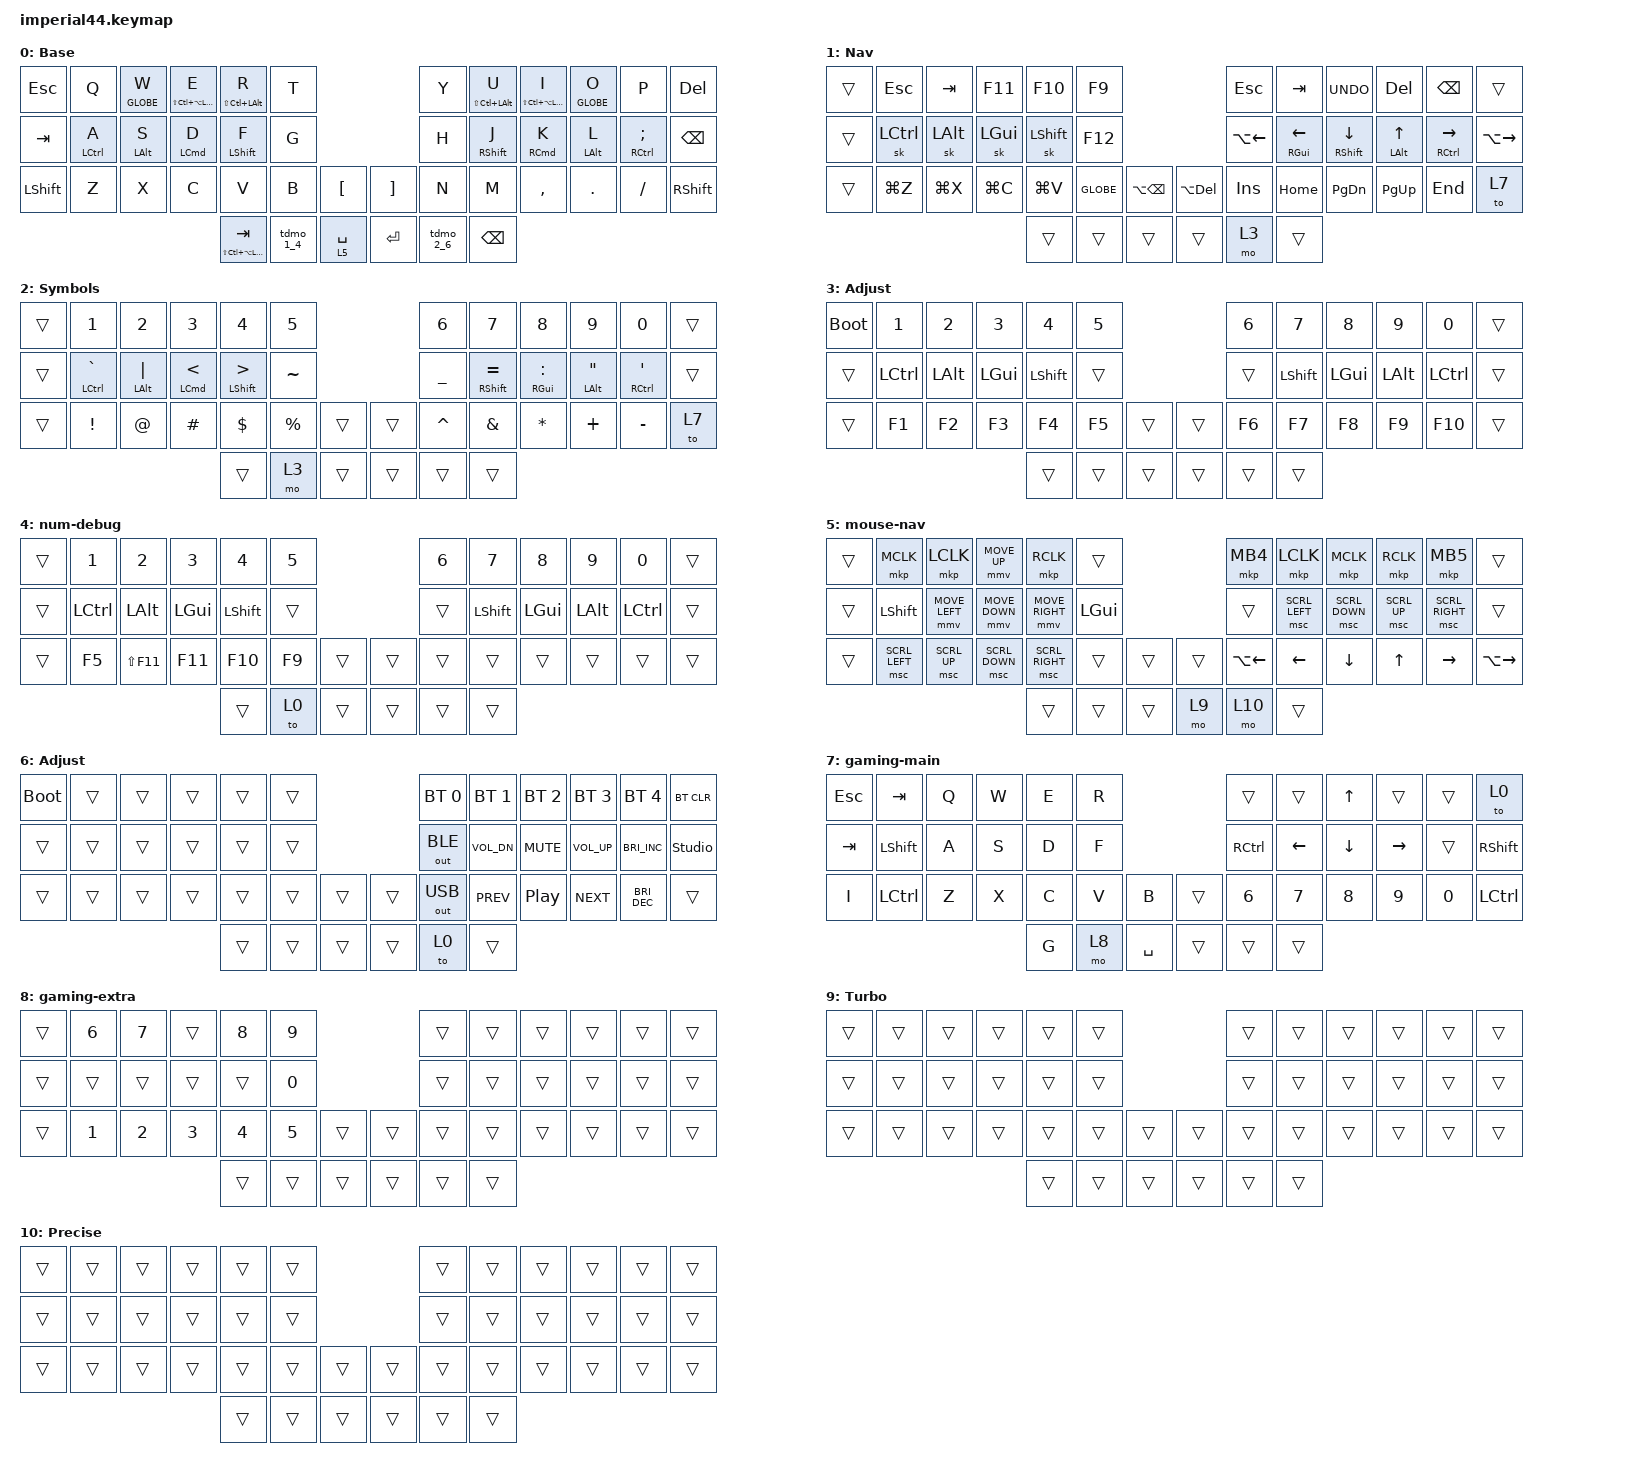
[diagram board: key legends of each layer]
#include "keys_ru.h"

#define ZMK_POINTING_DEFAULT_MOVE_VAL 1800
#define HYPER LS(LC(LA(LGUI)))
#define MEH LS(LC(LALT))

#include <behaviors.dtsi>
#include <input/processors.dtsi>
#include <dt-bindings/zmk/bt.h>
#include <dt-bindings/zmk/keys.h>
#include <dt-bindings/zmk/outputs.h>
#include <dt-bindings/zmk/pointing.h>

&mt {
    quick-tap-ms = <200>;
    require-prior-idle-ms = <125>;
    flavor = "tap-preferred";
};

&mmv {
    time-to-max-speed-ms = <400>;
    acceleration-exponent = <2>;
};

/* mouse-nav: держать RT2 = Precise (слой 10, ×⅓), RT3 = Turbo (слой 9, ×2) */
&mmv_input_listener {
    precision {
        layers = <10>;
        input-processors = <&zip_xy_scaler 1 3>;
    };
    turbo {
        layers = <9>;
        input-processors = <&zip_xy_scaler 2 1>;
    };
};

&msc_input_listener {
    precision {
        layers = <10>;
        input-processors = <&zip_scroll_scaler 1 2>;
    };
    turbo {
        layers = <9>;
        input-processors = <&zip_scroll_scaler 3 1>;
    };
};

/ {
    combos {
        compatible = "zmk,combos";

        right-parenthesis {
            bindings = <&kp RIGHT_PARENTHESIS>;
            key-positions = <4 3>;
            layers = <0>;
        };

        left-parenthesis {
            bindings = <&kp LEFT_PARENTHESIS>;
            key-positions = <2 3>;
            layers = <0>;
        };

        right-brace {
            bindings = <&kp RIGHT_BRACE>;
            key-positions = <34 35>;
            layers = <0>;
        };

        left-brace {
            bindings = <&kp LEFT_BRACE>;
            key-positions = <33 34>;
            layers = <0>;
        };

        asterisk {
            bindings = <&kp ASTRK>;
            key-positions = <>;
            layers = <0>;
        };

        ampersand {
            bindings = <&kp AMPS>;
            key-positions = <>;
            layers = <0>;
        };

        exclamation {
            bindings = <&kp EXCL>;
            key-positions = <>;
            layers = <0>;
        };

        left-bracket {
            bindings = <&kp LEFT_BRACKET>;
            key-positions = <7 8>;
            layers = <0>;
        };

        right-bracket {
            bindings = <&kp RIGHT_BRACKET>;
            key-positions = <8 9>;
            layers = <0>;
        };

        assign_value {
            bindings = <&ass_val>;
            key-positions = <2 4 3>;
            layers = <0>;
        };

        backslash {
            bindings = <&kp BSLH>;
            key-positions = <4 5>;
            layers = <0>;
        };

        question {
            bindings = <&kp QMARK>;
            key-positions = <35 36>;
            layers = <0>;
        };

        equals {
            bindings = <&kp EQUAL>;
            key-positions = <28 27>;
            layers = <0>;
        };

        minus {
            bindings = <&kp MINUS>;
            key-positions = <26 27>;
            layers = <0>;
        };

        slash {
            bindings = <&kp SLASH>;
            key-positions = <28 29>;
            layers = <0>;
        };

        pg-up {
            bindings = <&kp PAGE_UP>;
            key-positions = <7 8>;
            layers = <1>;
        };

        pg-down {
            bindings = <&kp PAGE_DOWN>;
            key-positions = <33 34>;
            layers = <1>;
        };

        next-word {
            bindings = <&kp LC(RIGHT_ARROW)>;
            key-positions = <20 21>;
            layers = <1>;
        };

        prev-word {
            bindings = <&kp LC(LEFT_ARROW)>;
            key-positions = <19 20>;
            layers = <1>;
        };

        caps-lock {
            bindings = <&kp CAPSLOCK>;
            key-positions = <25 26>;
            layers = <0>;
        };

        Underscore {
            bindings = <&kp UNDER>;
            key-positions = <30 31>;
            layers = <0>;
        };
    };

    behaviors {
        hml: home_row_mod_left {
            compatible = "zmk,behavior-hold-tap";
            label = "Home Row Mod Left";
            bindings = <&kp>, <&kp>;

            #binding-cells = <2>;
            tapping-term-ms = <280>;
            quick-tap-ms = <175>;
            require-prior-idle-ms = <150>;
            flavor = "balanced";
            hold-trigger-key-positions = <41 42 43 31 32 7 8 9 10 11 19 20 21 22 23 33 34 35 36 37 6 18>;
            hold-trigger-on-release;
        };

        hmr: home_row_mod_right {
            compatible = "zmk,behavior-hold-tap";
            label = "Home Row Mod Right";
            bindings = <&kp>, <&kp>;

            #binding-cells = <2>;
            tapping-term-ms = <280>;
            quick-tap-ms = <175>;
            require-prior-idle-ms = <150>;
            flavor = "balanced";
            hold-trigger-on-release;
            hold-trigger-key-positions = <0 1 2 3 4 5 12 13 14 15 16 17 24 25 26 27 28 29 30 38 39 40>;
        };

        tdmo_1_4: tdmo_1_4 {
            compatible = "zmk,behavior-tap-dance";
            label = "Tap Dance Layer Nav & Debug";
            #binding-cells = <0>;
            bindings = <&mo 1>, <&to 4>;
        };

        more: more {
            compatible = "zmk,behavior-hold-tap";
            label = "Mod / Repeat";
            bindings = <&mo>, <&key_repeat>;

            #binding-cells = <2>;
            tapping-term-ms = <280>;
            quick-tap-ms = <175>;
            require-prior-idle-ms = <150>;
            flavor = "balanced";
        };

        hrm: hrm {
            compatible = "zmk,behavior-hold-tap";
            label = "HRM";
            bindings = <&kp>, <&kp>;

            #binding-cells = <2>;
            tapping-term-ms = <170>;
            quick-tap-ms = <100>;
            flavor = "tap-preferred";
        };

        hrmp: hrmp {
            compatible = "zmk,behavior-hold-tap";
            label = "HRM for pinky";
            bindings = <&kp>, <&kp>;

            #binding-cells = <2>;
            tapping-term-ms = <190>;
            quick-tap-ms = <100>;
            flavor = "tap-preferred";
        };

        /* Tab на thumb: тап — Tab, удержание — Hyper */
        tab_mod: tab_mod {
            compatible = "zmk,behavior-hold-tap";
            label = "Tab / Hyper";
            bindings = <&kp>, <&kp>;

            #binding-cells = <2>;
            tapping-term-ms = <200>;
            quick-tap-ms = <150>;
            require-prior-idle-ms = <150>;
            flavor = "balanced";
        };

        tdmo_2_6: tdmo_2_6 {
            compatible = "zmk,behavior-tap-dance";
            label = "Tap Dance Layer Change Sym & Media";
            #binding-cells = <0>;
            bindings = <&mo 2>, <&mo 6>;
        };
    };

    macros {
        ass_val: new_macro {
            compatible = "zmk,behavior-macro";
            #binding-cells = <0>;
            bindings = <&kp COLON &kp EQUAL>;
            label = "NEW_MACRO";
        };
    };

    keymap {
        compatible = "zmk,keymap";

        base {
            bindings = <
&kp ESC    &kp Q                 &hml GLOBE W     &hml HYPER E         &hml MEH R         &kp T                                &kp Y      &hmr MEH U          &hmr HYPER I          &hmr GLOBE O &kp P                     &kp DELETE
&kp TAB    &hrmp LEFT_CONTROL A  &hml LEFT_ALT S  &hml LEFT_COMMAND D  &hml LEFT_SHIFT F  &kp G                                &kp H      &hmr RIGHT_SHIFT J  &hmr RIGHT_COMMAND K  &hmr LALT L  &hrmp RIGHT_CONTROL SEMI  &kp BACKSPACE
&kp LSHFT  &kp Z                 &kp X            &kp C                &kp V              &kp B      &kp LBKT       &kp RBKT   &kp N      &kp M               &kp COMMA             &kp DOT      &kp SLASH                 &kp RSHFT
                                                                       &tab_mod HYPER TAB &tdmo_1_4  &lt 5 SPACE    &kp ENTER  &tdmo_2_6  &kp BACKSPACE
            >;

            display-name = "Base";
        };

        nav {
            bindings = <
&trans  &kp ESC           &kp TAB       &kp F11       &kp F10         &kp F9                                              &kp ESC             &kp TAB                    &kp K_UNDO             &kp DELETE    &kp BACKSPACE           &trans
&trans  &sk LEFT_CONTROL  &sk LEFT_ALT  &sk LEFT_GUI  &sk LEFT_SHIFT  &kp F12                                             &kp LA(LEFT_ARROW)  &hmr RIGHT_GUI LEFT_ARROW  &hmr RIGHT_SHIFT DOWN  &hmr LALT UP  &hmr RCTRL RIGHT_ARROW  &kp LA(RIGHT_ARROW)
&trans  &kp LG(Z)         &kp LG(X)     &kp LG(C)     &kp LG(V)       &kp GLOBE      &kp LA(BACKSPACE)    &kp LA(DELETE)  &kp INSERT          &kp HOME                   &kp PG_DN              &kp PG_UP     &kp END                 &to 7
                                                      &trans          &trans         &trans               &trans          &mo 3               &trans
            >;

            display-name = "Nav";
        };

        num-sym {
            bindings = <
&trans  &kp NUMBER_1              &kp NUMBER_2        &kp NUMBER_3                 &kp NUMBER_4                  &kp NUMBER_5                    &kp NUMBER_6  &kp NUMBER_7            &kp NUMBER_8     &kp NUMBER_9             &kp NUMBER_0              &trans
&trans  &hrmp LEFT_CONTROL GRAVE  &hrm LEFT_ALT PIPE  &hrm LEFT_COMMAND LESS_THAN  &hrm LEFT_SHIFT GREATER_THAN  &kp TILDE                       &kp UNDER     &hrm RIGHT_SHIFT EQUAL  &hrm RGUI COLON  &hrm LALT DOUBLE_QUOTES  &hrmp RCTRL SINGLE_QUOTE  &trans
&trans  &kp EXCL                  &kp AT              &kp HASH                     &kp DOLLAR                    &kp PERCENT   &trans    &trans  &kp CARET     &kp AMPERSAND           &kp ASTERISK     &kp PLUS                 &kp MINUS                 &to 7
                                                                                   &trans                        &mo 3         &trans    &trans  &trans        &trans
            >;

            display-name = "Symbols";
        };

        adj {
            bindings = <
&bootloader  &kp N1     &kp N2    &kp N3    &kp N4     &kp N5                    &kp N6  &kp N7     &kp N8    &kp N9    &kp N0     &trans
&trans       &kp LCTRL  &kp LALT  &kp LGUI  &kp LSHFT  &trans                    &trans  &kp LSHFT  &kp LGUI  &kp LALT  &kp LCTRL  &trans
&trans       &kp F1     &kp F2    &kp F3    &kp F4     &kp F5  &trans    &trans  &kp F6  &kp F7     &kp F8    &kp F9    &kp F10    &trans
                                            &trans     &trans  &trans    &trans  &trans  &trans
            >;

            display-name = "Adjust";
        };

        num-debug {
            bindings = <
&trans  &kp N1     &kp N2       &kp N3    &kp N4     &kp N5                    &kp N6  &kp N7     &kp N8    &kp N9    &kp N0     &trans
&trans  &kp LCTRL  &kp LALT     &kp LGUI  &kp LSHFT  &trans                    &trans  &kp LSHFT  &kp LGUI  &kp LALT  &kp LCTRL  &trans
&trans  &kp F5     &kp LS(F11)  &kp F11   &kp F10    &kp F9  &trans    &trans  &trans  &trans     &trans    &trans    &trans     &trans
                                          &trans     &to 0   &trans    &trans  &trans  &trans
            >;
        };

        mouse-nav {
            bindings = <
&trans  &mkp MCLK       &mkp LCLK       &mmv MOVE_UP    &mkp RCLK        &trans                    &mkp MB4      &mkp LCLK       &mkp MCLK       &mkp RCLK     &mkp MB5         &trans
&trans  &kp LSHFT       &mmv MOVE_LEFT  &mmv MOVE_DOWN  &mmv MOVE_RIGHT  &kp LGUI                  &trans        &msc SCRL_LEFT  &msc SCRL_DOWN  &msc SCRL_UP  &msc SCRL_RIGHT  &trans
&trans  &msc SCRL_LEFT  &msc SCRL_UP    &msc SCRL_DOWN  &msc SCRL_RIGHT  &trans  &trans    &trans  &kp LA(LEFT)  &kp LEFT        &kp DOWN        &kp UP        &kp RIGHT        &kp LA(RIGHT)
                                                        &trans           &trans  &trans    &mo 9   &mo 10        &trans
            >;
        };

        media {
            display-name = "Adjust";
            bindings = <
&bootloader  &trans  &trans  &trans  &trans  &trans                    &bt BT_SEL 0  &bt BT_SEL 1  &bt BT_SEL 2      &bt BT_SEL 3  &bt BT_SEL 4          &bt BT_CLR
&trans       &trans  &trans  &trans  &trans  &trans                    &out OUT_BLE  &kp C_VOL_DN  &kp C_MUTE        &kp C_VOL_UP  &kp C_BRIGHTNESS_INC  &studio_unlock
&trans       &trans  &trans  &trans  &trans  &trans  &trans    &trans  &out OUT_USB  &kp C_PREV    &kp C_PLAY_PAUSE  &kp C_NEXT    &kp C_BRIGHTNESS_DEC  &trans
                                     &trans  &trans  &trans    &trans  &to 0         &trans
            >;
        };

        gaming-main {
            bindings = <
&kp ESC  &kp TAB    &kp Q  &kp W  &kp E  &kp R                       &trans        &trans          &kp UP          &trans           &trans        &to 0
&kp TAB  &kp LSHFT  &kp A  &kp S  &kp D  &kp F                       &kp RCTRL     &kp LEFT_ARROW  &kp DOWN_ARROW  &kp RIGHT_ARROW  &trans        &kp RIGHT_SHIFT
&kp I    &kp LCTRL  &kp Z  &kp X  &kp C  &kp V  &kp B        &trans  &kp NUMBER_6  &kp NUMBER_7    &kp NUMBER_8    &kp NUMBER_9     &kp NUMBER_0  &kp LCTRL
                                  &kp G  &mo 8  &kp SPACE    &trans  &trans        &trans
            >;
        };

        gaming-extra {
            bindings = <
&trans  &kp N6  &kp N7  &trans  &kp N8  &kp N9                    &trans  &trans  &trans  &trans  &trans  &trans
&trans  &trans  &trans  &trans  &trans  &kp N0                    &trans  &trans  &trans  &trans  &trans  &trans
&trans  &kp N1  &kp N2  &kp N3  &kp N4  &kp N5  &trans    &trans  &trans  &trans  &trans  &trans  &trans  &trans
                                &trans  &trans  &trans    &trans  &trans  &trans
            >;
        };

        /* флаги скорости мыши: прозрачные слои, их держат thumbs в mouse-nav */
        mouse-turbo {
            display-name = "Turbo";
            bindings = <
&trans  &trans  &trans  &trans  &trans  &trans  &trans  &trans  &trans  &trans  &trans  &trans
&trans  &trans  &trans  &trans  &trans  &trans  &trans  &trans  &trans  &trans  &trans  &trans
&trans  &trans  &trans  &trans  &trans  &trans  &trans  &trans  &trans  &trans  &trans  &trans  &trans  &trans
&trans  &trans  &trans  &trans  &trans  &trans
            >;
        };

        mouse-precise {
            display-name = "Precise";
            bindings = <
&trans  &trans  &trans  &trans  &trans  &trans  &trans  &trans  &trans  &trans  &trans  &trans
&trans  &trans  &trans  &trans  &trans  &trans  &trans  &trans  &trans  &trans  &trans  &trans
&trans  &trans  &trans  &trans  &trans  &trans  &trans  &trans  &trans  &trans  &trans  &trans  &trans  &trans
&trans  &trans  &trans  &trans  &trans  &trans
            >;
        };
    };
};
